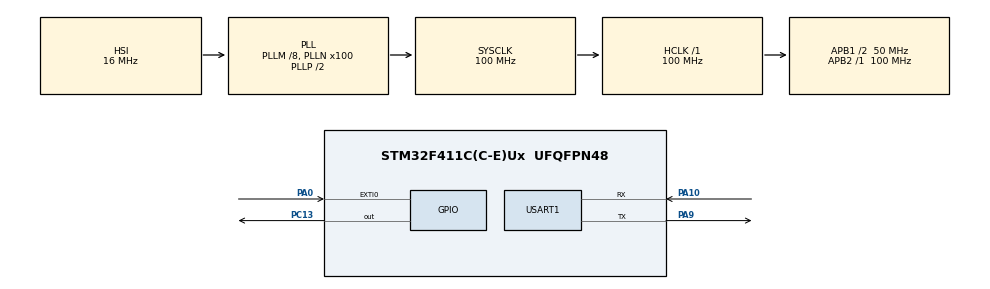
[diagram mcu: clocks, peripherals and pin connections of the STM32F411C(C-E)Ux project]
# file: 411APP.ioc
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Mcu.Family=STM32F4
Mcu.Name=STM32F411C(C-E)Ux
Mcu.Package=UFQFPN48
NVIC.EXTI0_IRQn=true\:0\:0\:false\:false\:true\:true\:true\:true
NVIC.PriorityGroup=NVIC_PRIORITYGROUP_4
PA0-WKUP.GPIO_ModeDefaultEXTI=GPIO_MODE_IT_RISING
PA0-WKUP.GPIO_PuPd=GPIO_PULLUP
PA0-WKUP.Signal=GPXTI0
PA10.Mode=Asynchronous
PA10.Signal=USART1_RX
PA13.Mode=Serial_Wire
PA13.Signal=SYS_JTMS-SWDIO
PA14.Mode=Serial_Wire
PA14.Signal=SYS_JTCK-SWCLK
PA9.Mode=Asynchronous
PA9.Signal=USART1_TX
PC13-ANTI_TAMP.Signal=GPIO_Output
PH0\ -\ OSC_IN.Mode=HSE-External-Oscillator
PH0\ -\ OSC_IN.Signal=RCC_OSC_IN
PH1\ -\ OSC_OUT.Mode=HSE-External-Oscillator
PH1\ -\ OSC_OUT.Signal=RCC_OSC_OUT
ProjectManager.HeapSize=0x200
ProjectManager.StackSize=0x400
ProjectManager.TargetToolchain=MDK-ARM V5.32
RCC.48MHZClocksFreq_Value=50000000
RCC.AHBFreq_Value=100000000
RCC.APB1CLKDivider=RCC_HCLK_DIV2
RCC.APB1Freq_Value=50000000
RCC.APB1TimFreq_Value=100000000
RCC.APB2Freq_Value=100000000
RCC.APB2TimFreq_Value=100000000
RCC.CortexFreq_Value=100000000
RCC.HCLKFreq_Value=100000000
RCC.HSE_VALUE=25000000
RCC.HSI_VALUE=16000000
RCC.LSE_VALUE=32768
RCC.PLLM=8
RCC.PLLN=100
RCC.SYSCLKFreq_VALUE=100000000
RCC.SYSCLKSource=RCC_SYSCLKSOURCE_PLLCLK
RCC.VCOOutputFreq_Value=200000000
USART1.VirtualMode=VM_ASYNC
board=custom

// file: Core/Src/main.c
/* USER CODE BEGIN Header */
/**
  ******************************************************************************
  * @file           : main.c
  * @brief          : Main program body
  ******************************************************************************
  * @attention
  *
  * Copyright (c) 2025 STMicroelectronics.
  * All rights reserved.
  *
  * This software is licensed under terms that can be found in the LICENSE file
  * in the root directory of this software component.
  * If no LICENSE file comes with this software, it is provided AS-IS.
  *
  ******************************************************************************
  */
/* USER CODE END Header */
#include "main.h"
#include "usart.h"
#include "gpio.h"

/* USER CODE BEGIN Includes */
#define USE_IAP_FLAG_ADDRESS ((uint32_t)0x08003FFC) // 选择一个未使用的地址来存储标识位
#define USE_IAP_FLAG_ENABLED 0x01
#define USE_IAP_FLAG_DISABLED 0x00000000
/* USER CODE END Includes */

/* USER CODE BEGIN PV */

extern uint32_t Read_IAP_Flag(void) {
    return (*(__IO uint32_t*)USE_IAP_FLAG_ADDRESS);
}

extern void Write_IAP_Flag(uint32_t flag) {
  HAL_FLASH_Unlock();  // 解锁 Flash

  // 获取目标地址所在的扇区
  uint32_t sector = 0;
  if (USE_IAP_FLAG_ADDRESS < 0x08010000) sector = FLASH_SECTOR_0;
  else if (USE_IAP_FLAG_ADDRESS < 0x08020000) sector = FLASH_SECTOR_1;
  else if (USE_IAP_FLAG_ADDRESS < 0x08040000) sector = FLASH_SECTOR_2;
  else if (USE_IAP_FLAG_ADDRESS < 0x08080000) sector = FLASH_SECTOR_3;
  else sector = FLASH_SECTOR_4;  // 具体映射可以参考 STM32F4 参考手册

  // 配置擦除参数
  FLASH_EraseInitTypeDef EraseInitStruct;
  uint32_t SectorError;

  EraseInitStruct.TypeErase = FLASH_TYPEERASE_SECTORS;  // 使用扇区擦除
  EraseInitStruct.VoltageRange = FLASH_VOLTAGE_RANGE_3; // 2.7V - 3.6V
  EraseInitStruct.Sector = sector;
  EraseInitStruct.NbSectors = 1;  // 仅擦除一个扇区

  if (HAL_FLASHEx_Erase(&EraseInitStruct, &SectorError) != HAL_OK) {
      HAL_FLASH_Lock();
      return;  // 擦除失败，返回
  }

  // 写入标志位
  HAL_FLASH_Program(FLASH_TYPEPROGRAM_WORD, USE_IAP_FLAG_ADDRESS, flag);

  HAL_FLASH_Lock();  // 锁定 Flash
}

/* USER CODE END PV */

void SystemClock_Config(void);

/* USER CODE BEGIN 0 */
void NVIC_SetVectorTable(uint32_t NVIC_VectTab, uint32_t Offset)
{
  /* Check the parameters */
  assert_param(IS_NVIC_VECTTAB(NVIC_VectTab));
  assert_param(IS_NVIC_OFFSET(Offset));

  SCB->VTOR = NVIC_VectTab | Offset;
}
#define CLI() __set_PRIMASK(1)//�ر����ж�
#define SEI() __set_PRIMASK(0)//�����ж�

/* USER CODE END 0 */

int main(void)
{

  /* USER CODE BEGIN 1 */
  SEI();						//打开全局中断，因为在IAP中关闭了全局中断
  NVIC_SetVectorTable(FLASH_BASE, 0x5000);	//定位中断向量表
  /* USER CODE END 1 */

  /* MCU Configuration--------------------------------------------------------*/

  /* Reset of all peripherals, Initializes the Flash interface and the Systick. */
  HAL_Init();

  /* Configure the system clock */
  SystemClock_Config();

  /* Initialize all configured peripherals */
  MX_GPIO_Init();
  MX_USART1_UART_Init();

  /* Infinite loop */
  /* USER CODE BEGIN WHILE */
	HAL_UART_Transmit(&huart1,"startapp",8,HAL_MAX_DELAY);
  while (1)
  {

    /* USER CODE END WHILE */

  }
}

void SystemClock_Config(void)
{
  RCC_OscInitTypeDef RCC_OscInitStruct = {0};
  RCC_ClkInitTypeDef RCC_ClkInitStruct = {0};

  /** Configure the main internal regulator output voltage
  */
  __HAL_RCC_PWR_CLK_ENABLE();
  __HAL_PWR_VOLTAGESCALING_CONFIG(PWR_REGULATOR_VOLTAGE_SCALE1);

  /** Initializes the RCC Oscillators according to the specified parameters
  * in the RCC_OscInitTypeDef structure.
  */
  RCC_OscInitStruct.OscillatorType = RCC_OSCILLATORTYPE_HSI;
  RCC_OscInitStruct.HSIState = RCC_HSI_ON;
  RCC_OscInitStruct.HSICalibrationValue = RCC_HSICALIBRATION_DEFAULT;
  RCC_OscInitStruct.PLL.PLLState = RCC_PLL_ON;
  RCC_OscInitStruct.PLL.PLLSource = RCC_PLLSOURCE_HSI;
  RCC_OscInitStruct.PLL.PLLM = 8;
  RCC_OscInitStruct.PLL.PLLN = 100;
  RCC_OscInitStruct.PLL.PLLP = RCC_PLLP_DIV2;
  RCC_OscInitStruct.PLL.PLLQ = 4;
  if (HAL_RCC_OscConfig(&RCC_OscInitStruct) != HAL_OK)
  {
    Error_Handler();
  }

  /** Initializes the CPU, AHB and APB buses clocks
  */
  RCC_ClkInitStruct.ClockType = RCC_CLOCKTYPE_HCLK|RCC_CLOCKTYPE_SYSCLK
                              |RCC_CLOCKTYPE_PCLK1|RCC_CLOCKTYPE_PCLK2;
  RCC_ClkInitStruct.SYSCLKSource = RCC_SYSCLKSOURCE_PLLCLK;
  RCC_ClkInitStruct.AHBCLKDivider = RCC_SYSCLK_DIV1;
  RCC_ClkInitStruct.APB1CLKDivider = RCC_HCLK_DIV2;
  RCC_ClkInitStruct.APB2CLKDivider = RCC_HCLK_DIV1;

  if (HAL_RCC_ClockConfig(&RCC_ClkInitStruct, FLASH_LATENCY_3) != HAL_OK)
  {
    Error_Handler();
  }
}

void Error_Handler(void)
{
  __disable_irq();
  while (1)
  {
  }
}
